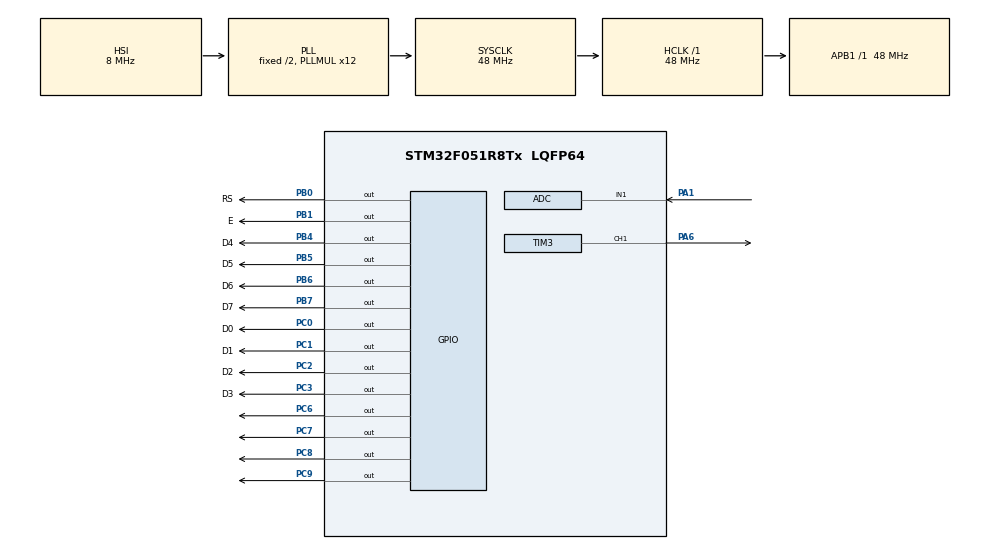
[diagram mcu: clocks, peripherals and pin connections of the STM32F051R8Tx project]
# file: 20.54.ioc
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ADC.ClockPrescaler=ADC_CLOCK_ASYNC_DIV1
ADC.ContinuousConvMode=DISABLE
ADC.DMAContinuousRequests=DISABLE
ADC.DataAlign=ADC_DATAALIGN_RIGHT
ADC.DiscontinuousConvMode=DISABLE
ADC.EOCSelection=ADC_EOC_SINGLE_CONV
ADC.EnableAnalogWatchDog=false
ADC.ExternalTrigConv=ADC_SOFTWARE_START
ADC.ExternalTrigConvEdge=ADC_EXTERNALTRIGCONVEDGE_NONE
ADC.LowPowerAutoPowerOff=DISABLE
ADC.LowPowerAutoWait=DISABLE
ADC.Overrun=ADC_OVR_DATA_PRESERVED
ADC.Resolution=ADC_RESOLUTION_12B
ADC.SamplingTime=ADC_SAMPLETIME_239CYCLES_5
ADC.ScanConvMode=ADC_SCAN_DIRECTION_FORWARD
Mcu.Family=STM32F0
Mcu.Name=STM32F051R8Tx
Mcu.Package=LQFP64
NVIC.ADC1_COMP_IRQn=true\:0\:0\:false\:false\:true
NVIC.TIM3_IRQn=true\:0\:0\:false\:false\:true
PA1.Mode=IN1
PA1.Signal=ADC_IN1
PA6.Signal=S_TIM3_CH1
PB0.GPIO_Label=RS
PB0.Signal=GPIO_Output
PB1.GPIO_Label=E
PB1.Signal=GPIO_Output
PB4.GPIO_Label=D4
PB4.Signal=GPIO_Output
PB5.GPIO_Label=D5
PB5.Signal=GPIO_Output
PB6.GPIO_Label=D6
PB6.Signal=GPIO_Output
PB7.GPIO_Label=D7
PB7.Signal=GPIO_Output
PC0.GPIO_Label=D0
PC0.Signal=GPIO_Output
PC1.GPIO_Label=D1
PC1.Signal=GPIO_Output
PC2.GPIO_Label=D2
PC2.Signal=GPIO_Output
PC3.GPIO_Label=D3
PC3.Signal=GPIO_Output
PC6.Signal=GPIO_Output
PC7.Signal=GPIO_Output
PC8.Signal=GPIO_Output
PC9.Signal=GPIO_Output
ProjectManager.HeapSize=0x200
ProjectManager.StackSize=0x400
ProjectManager.TargetToolchain=MDK-ARM V5
RCC.AHBFreq_Value=48000000
RCC.APB1Freq_Value=48000000
RCC.APB1TimFreq_Value=48000000
RCC.HCLKFreq_Value=48000000
RCC.PLLMUL=RCC_PLL_MUL12
RCC.SYSCLKFreq_VALUE=48000000
RCC.SYSCLKSource=RCC_SYSCLKSOURCE_PLLCLK
SH.S_TIM3_CH1.0=TIM3_CH1,PWM Generation1 CH1
TIM3.Channel-PWM\ Generation1\ CH1=TIM_CHANNEL_1
TIM3.Period=100
TIM3.Prescaler=83
VP_TIM3_VS_ClockSourceINT.Mode=Internal
board=20.54

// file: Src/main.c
/**
  ******************************************************************************
  * File Name          : main.c
  * Description        : Main program body
  ******************************************************************************
  *
  * COPYRIGHT(c) 2017 STMicroelectronics
  *
  * Redistribution and use in source and binary forms, with or without modification,
  * are permitted provided that the following conditions are met:
  *   1. Redistributions of source code must retain the above copyright notice,
  *      this list of conditions and the following disclaimer.
  *   2. Redistributions in binary form must reproduce the above copyright notice,
  *      this list of conditions and the following disclaimer in the documentation
  *      and/or other materials provided with the distribution.
  *   3. Neither the name of STMicroelectronics nor the names of its contributors
  *      may be used to endorse or promote products derived from this software
  *      without specific prior written permission.
  *
  * THIS SOFTWARE IS PROVIDED BY THE COPYRIGHT HOLDERS AND CONTRIBUTORS "AS IS"
  * AND ANY EXPRESS OR IMPLIED WARRANTIES, INCLUDING, BUT NOT LIMITED TO, THE
  * IMPLIED WARRANTIES OF MERCHANTABILITY AND FITNESS FOR A PARTICULAR PURPOSE ARE
  * DISCLAIMED. IN NO EVENT SHALL THE COPYRIGHT HOLDER OR CONTRIBUTORS BE LIABLE
  * FOR ANY DIRECT, INDIRECT, INCIDENTAL, SPECIAL, EXEMPLARY, OR CONSEQUENTIAL
  * DAMAGES (INCLUDING, BUT NOT LIMITED TO, PROCUREMENT OF SUBSTITUTE GOODS OR
  * SERVICES; LOSS OF USE, DATA, OR PROFITS; OR BUSINESS INTERRUPTION) HOWEVER
  * CAUSED AND ON ANY THEORY OF LIABILITY, WHETHER IN CONTRACT, STRICT LIABILITY,
  * OR TORT (INCLUDING NEGLIGENCE OR OTHERWISE) ARISING IN ANY WAY OUT OF THE USE
  * OF THIS SOFTWARE, EVEN IF ADVISED OF THE POSSIBILITY OF SUCH DAMAGE.
  *
  ******************************************************************************
  */
#include "main.h"
#include "stm32f0xx_hal.h"

/* USER CODE BEGIN Includes */
#include "STM_MY_LCD16X2.h"

/* USER CODE END Includes */

ADC_HandleTypeDef hadc;

TIM_HandleTypeDef htim3;

/* USER CODE BEGIN PV */
/* Private variables ---------------------------------------------------------*/
int data=0;
char a[8];
#define RS 0
#define E  1

#define D0 0
#define D1 1
#define D2 2
#define D3 3

#define D4 4
#define D5 5
#define D6 6
#define D7 7

/* USER CODE END PV */

void SystemClock_Config(void);
void Error_Handler(void);
static void MX_GPIO_Init(void);
static void MX_ADC_Init(void);
static void MX_TIM3_Init(void);

void HAL_TIM_MspPostInit(TIM_HandleTypeDef *htim);

/* USER CODE BEGIN PFP */
/* Private function prototypes -----------------------------------------------*/

/* USER CODE END PFP */

int main(void)
{

  /* MCU Configuration----------------------------------------------------------*/

  /* Reset of all peripherals, Initializes the Flash interface and the Systick. */
  HAL_Init();

  /* Configure the system clock */
  SystemClock_Config();

  /* Initialize all configured peripherals */
  MX_GPIO_Init();
  MX_ADC_Init();
  MX_TIM3_Init();

  /* USER CODE BEGIN 2 */
	HAL_TIM_Base_Start_IT(&htim3);
LCD_begin8BIT(GPIOB, RS, E,GPIOC, D0,D1,D2,D3 , GPIOB,D4,D5,D6,D7);

  /* USER CODE END 2 */

  /* Infinite loop */
  while (1)
  {

  /* USER CODE BEGIN 3 */
    HAL_ADC_Start_IT(&hadc);
		for(int i=0; i<800000;i++);
		LCD_itoa(data, a);
		LCD_print("GazDegeri= ");
		char karakter = 220;
		LCD_print(a);
		HAL_Delay(1000);
		if(data>4000){

			HAL_GPIO_WritePin(GPIOC, GPIO_PIN_6, GPIO_PIN_SET);

		}else{
		  HAL_GPIO_WritePin(GPIOC, GPIO_PIN_6, GPIO_PIN_RESET);

		}

    LCD_clear();

  }
  /* USER CODE END 3 */

}

/** System Clock Configuration
*/
void SystemClock_Config(void)
{

  RCC_OscInitTypeDef RCC_OscInitStruct;
  RCC_ClkInitTypeDef RCC_ClkInitStruct;

    /**Initializes the CPU, AHB and APB busses clocks
    */
  RCC_OscInitStruct.OscillatorType = RCC_OSCILLATORTYPE_HSI|RCC_OSCILLATORTYPE_HSI14;
  RCC_OscInitStruct.HSIState = RCC_HSI_ON;
  RCC_OscInitStruct.HSI14State = RCC_HSI14_ON;
  RCC_OscInitStruct.HSICalibrationValue = 16;
  RCC_OscInitStruct.HSI14CalibrationValue = 16;
  RCC_OscInitStruct.PLL.PLLState = RCC_PLL_ON;
  RCC_OscInitStruct.PLL.PLLSource = RCC_PLLSOURCE_HSI;
  RCC_OscInitStruct.PLL.PLLMUL = RCC_PLL_MUL12;
  RCC_OscInitStruct.PLL.PREDIV = RCC_PREDIV_DIV1;
  if (HAL_RCC_OscConfig(&RCC_OscInitStruct) != HAL_OK)
  {
    Error_Handler();
  }

    /**Initializes the CPU, AHB and APB busses clocks
    */
  RCC_ClkInitStruct.ClockType = RCC_CLOCKTYPE_HCLK|RCC_CLOCKTYPE_SYSCLK
                              |RCC_CLOCKTYPE_PCLK1;
  RCC_ClkInitStruct.SYSCLKSource = RCC_SYSCLKSOURCE_PLLCLK;
  RCC_ClkInitStruct.AHBCLKDivider = RCC_SYSCLK_DIV1;
  RCC_ClkInitStruct.APB1CLKDivider = RCC_HCLK_DIV1;

  if (HAL_RCC_ClockConfig(&RCC_ClkInitStruct, FLASH_LATENCY_1) != HAL_OK)
  {
    Error_Handler();
  }

    /**Configure the Systick interrupt time
    */
  HAL_SYSTICK_Config(HAL_RCC_GetHCLKFreq()/1000);

    /**Configure the Systick
    */
  HAL_SYSTICK_CLKSourceConfig(SYSTICK_CLKSOURCE_HCLK);

  /* SysTick_IRQn interrupt configuration */
  HAL_NVIC_SetPriority(SysTick_IRQn, 0, 0);
}

/* ADC init function */
static void MX_ADC_Init(void)
{

  ADC_ChannelConfTypeDef sConfig;

    /**Configure the global features of the ADC (Clock, Resolution, Data Alignment and number of conversion)
    */
  hadc.Instance = ADC1;
  hadc.Init.ClockPrescaler = ADC_CLOCK_ASYNC_DIV1;
  hadc.Init.Resolution = ADC_RESOLUTION_12B;
  hadc.Init.DataAlign = ADC_DATAALIGN_RIGHT;
  hadc.Init.ScanConvMode = ADC_SCAN_DIRECTION_FORWARD;
  hadc.Init.EOCSelection = ADC_EOC_SINGLE_CONV;
  hadc.Init.LowPowerAutoWait = DISABLE;
  hadc.Init.LowPowerAutoPowerOff = DISABLE;
  hadc.Init.ContinuousConvMode = DISABLE;
  hadc.Init.DiscontinuousConvMode = DISABLE;
  hadc.Init.ExternalTrigConv = ADC_SOFTWARE_START;
  hadc.Init.ExternalTrigConvEdge = ADC_EXTERNALTRIGCONVEDGE_NONE;
  hadc.Init.DMAContinuousRequests = DISABLE;
  hadc.Init.Overrun = ADC_OVR_DATA_PRESERVED;
  if (HAL_ADC_Init(&hadc) != HAL_OK)
  {
    Error_Handler();
  }

    /**Configure for the selected ADC regular channel to be converted.
    */
  sConfig.Channel = ADC_CHANNEL_1;
  sConfig.Rank = ADC_RANK_CHANNEL_NUMBER;
  sConfig.SamplingTime = ADC_SAMPLETIME_239CYCLES_5;
  if (HAL_ADC_ConfigChannel(&hadc, &sConfig) != HAL_OK)
  {
    Error_Handler();
  }

}

/* TIM3 init function */
static void MX_TIM3_Init(void)
{

  TIM_ClockConfigTypeDef sClockSourceConfig;
  TIM_MasterConfigTypeDef sMasterConfig;
  TIM_OC_InitTypeDef sConfigOC;

  htim3.Instance = TIM3;
  htim3.Init.Prescaler = 83;
  htim3.Init.CounterMode = TIM_COUNTERMODE_UP;
  htim3.Init.Period = 100;
  htim3.Init.ClockDivision = TIM_CLOCKDIVISION_DIV1;
  htim3.Init.AutoReloadPreload = TIM_AUTORELOAD_PRELOAD_DISABLE;
  if (HAL_TIM_Base_Init(&htim3) != HAL_OK)
  {
    Error_Handler();
  }

  sClockSourceConfig.ClockSource = TIM_CLOCKSOURCE_INTERNAL;
  if (HAL_TIM_ConfigClockSource(&htim3, &sClockSourceConfig) != HAL_OK)
  {
    Error_Handler();
  }

  if (HAL_TIM_PWM_Init(&htim3) != HAL_OK)
  {
    Error_Handler();
  }

  sMasterConfig.MasterOutputTrigger = TIM_TRGO_RESET;
  sMasterConfig.MasterSlaveMode = TIM_MASTERSLAVEMODE_DISABLE;
  if (HAL_TIMEx_MasterConfigSynchronization(&htim3, &sMasterConfig) != HAL_OK)
  {
    Error_Handler();
  }

  sConfigOC.OCMode = TIM_OCMODE_PWM1;
  sConfigOC.Pulse = 0;
  sConfigOC.OCPolarity = TIM_OCPOLARITY_HIGH;
  sConfigOC.OCFastMode = TIM_OCFAST_DISABLE;
  if (HAL_TIM_PWM_ConfigChannel(&htim3, &sConfigOC, TIM_CHANNEL_1) != HAL_OK)
  {
    Error_Handler();
  }

  HAL_TIM_MspPostInit(&htim3);

}

/** Configure pins as
        * Analog
        * Input
        * Output
        * EVENT_OUT
        * EXTI
*/
static void MX_GPIO_Init(void)
{

  GPIO_InitTypeDef GPIO_InitStruct;

  /* GPIO Ports Clock Enable */
  __HAL_RCC_GPIOC_CLK_ENABLE();
  __HAL_RCC_GPIOA_CLK_ENABLE();
  __HAL_RCC_GPIOB_CLK_ENABLE();

  /*Configure GPIO pin Output Level */
  HAL_GPIO_WritePin(GPIOC, D0_Pin|D1_Pin|D2_Pin|D3_Pin
                          |GPIO_PIN_6|GPIO_PIN_7|GPIO_PIN_8|GPIO_PIN_9, GPIO_PIN_RESET);

  /*Configure GPIO pin Output Level */
  HAL_GPIO_WritePin(GPIOB, RS_Pin|E_Pin|D4_Pin|D5_Pin
                          |D6_Pin|D7_Pin, GPIO_PIN_RESET);

  /*Configure GPIO pins : D0_Pin D1_Pin D2_Pin D3_Pin
                           PC6 PC7 PC8 PC9 */
  GPIO_InitStruct.Pin = D0_Pin|D1_Pin|D2_Pin|D3_Pin
                          |GPIO_PIN_6|GPIO_PIN_7|GPIO_PIN_8|GPIO_PIN_9;
  GPIO_InitStruct.Mode = GPIO_MODE_OUTPUT_PP;
  GPIO_InitStruct.Pull = GPIO_NOPULL;
  GPIO_InitStruct.Speed = GPIO_SPEED_FREQ_LOW;
  HAL_GPIO_Init(GPIOC, &GPIO_InitStruct);

  /*Configure GPIO pins : RS_Pin E_Pin D4_Pin D5_Pin
                           D6_Pin D7_Pin */
  GPIO_InitStruct.Pin = RS_Pin|E_Pin|D4_Pin|D5_Pin
                          |D6_Pin|D7_Pin;
  GPIO_InitStruct.Mode = GPIO_MODE_OUTPUT_PP;
  GPIO_InitStruct.Pull = GPIO_NOPULL;
  GPIO_InitStruct.Speed = GPIO_SPEED_FREQ_LOW;
  HAL_GPIO_Init(GPIOB, &GPIO_InitStruct);

}

void Error_Handler(void)
{
  while(1)
  {
  }
}

/************************ (C) COPYRIGHT STMicroelectronics *****END OF FILE****/
